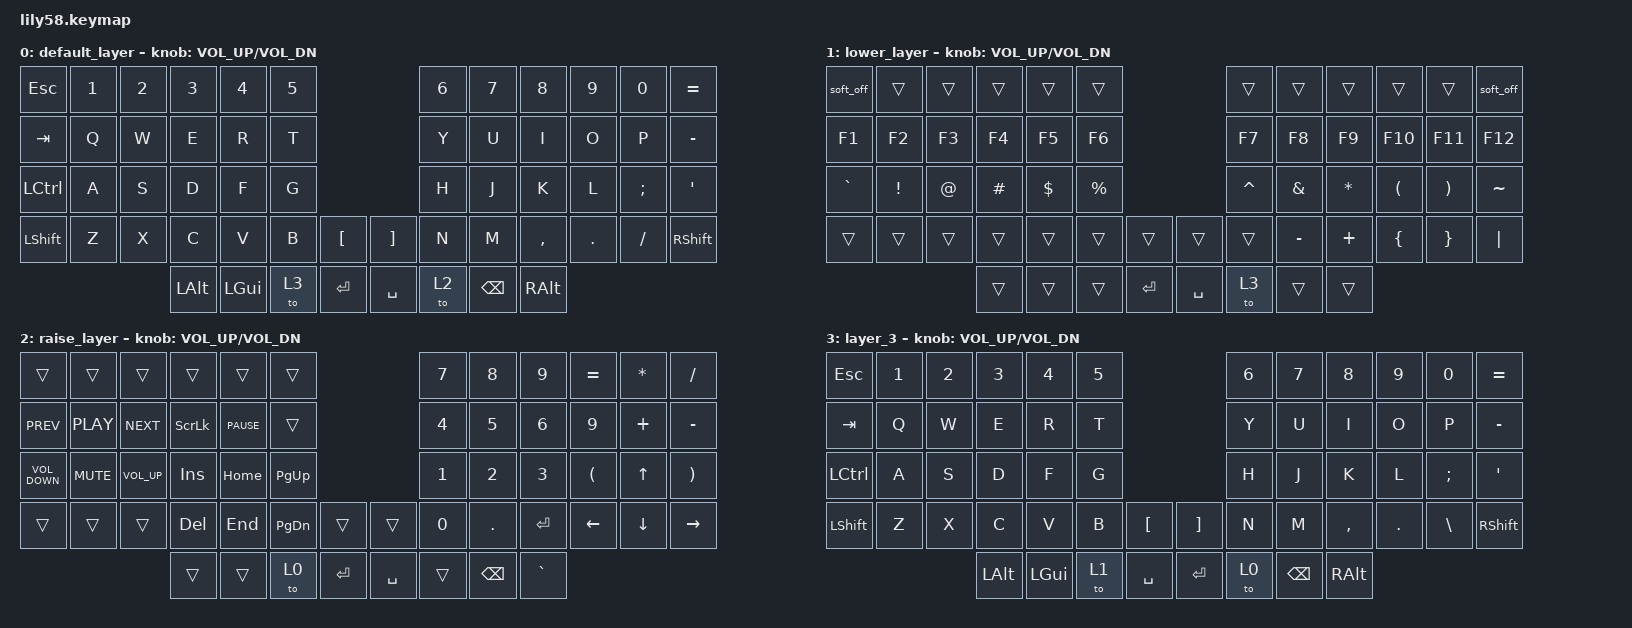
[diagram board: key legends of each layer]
/*
 * Copyright (c) 2020 The ZMK Contributors
 *
 * SPDX-License-Identifier: MIT
 */

#include <behaviors.dtsi>
#include <dt-bindings/zmk/keys.h>

/ {
    keymap {
        compatible = "zmk,keymap";

        default_layer {
            // ------------------------------------------------------------------------------------------------------------
            // |  ESC  |  1  |  2  |  3   |  4   |  5   |                   |  6   |  7    |  8    |  9   |   0   |   `   |
            // |  TAB  |  Q  |  W  |  E   |  R   |  T   |                   |  Y   |  U    |  I    |  O   |   P   |   -   |
            // |  CTRL |  A  |  S  |  D   |  F   |  G   |                   |  H   |  J    |  K    |  L   |   ;   |   '   |
            // | SHIFT |  Z  |  X  |  C   |  V   |  B   |   "["  |  |  "]"  |  N   |  M    |  ,    |  .   |   /   | SHIFT |
            //                     | ALT  | GUI  | LOWER|  SPACE |  | ENTER | RAISE| BSPC  | GUI   |

            bindings = <
&kp ESC    &kp N1  &kp N2  &kp N3    &kp N4    &kp N5                         &kp N6  &kp N7    &kp N8         &kp N9   &kp N0    &kp EQUAL
&kp TAB    &kp Q   &kp W   &kp E     &kp R     &kp T                          &kp Y   &kp U     &kp I          &kp O    &kp P     &kp MINUS
&kp LCTRL  &kp A   &kp S   &kp D     &kp F     &kp G                          &kp H   &kp J     &kp K          &kp L    &kp SEMI  &kp SQT
&kp LSHFT  &kp Z   &kp X   &kp C     &kp V     &kp B   &kp LBKT    &kp RBKT   &kp N   &kp M     &kp COMMA      &kp DOT  &kp FSLH  &kp RSHFT
                           &kp LALT  &kp LGUI  &to 3   &kp RET     &kp SPACE  &to 2   &kp BSPC  &kp RIGHT_ALT
            >;

            sensor-bindings = <&inc_dec_kp C_VOL_UP C_VOL_DN>;
        };

        lower_layer {
            // ------------------------------------------------------------------------------------------------------------
            // | BTCLR | BT1 | BT2 |  BT3 |  BT4 |  BT5 |                   |      |       |       |      |       |       |
            // |  F1   |  F2 |  F3 |  F4  |  F5  |  F6  |                   |  F7  |  F8   |  F9   |  F10 |  F11  |  F12  |
            // |   `   |  !  |  @  |  #   |  $   |  %   |                   |  ^   |  &    |  *    |  (   |   )   |   ~   |
            // |       |     |     |      |      |      |        |  |       |      |  _    |  +    |  {   |   }   |  "|"  |
            //                     |      |      |      |        |  |       |      |       |       |

            bindings = <
&soft_off  &trans    &trans  &trans    &trans      &trans                             &trans     &trans     &trans     &trans    &trans    &soft_off
&kp F1     &kp F2    &kp F3  &kp F4    &kp F5      &kp F6                             &kp F7     &kp F8     &kp F9     &kp F10   &kp F11   &kp F12
&kp GRAVE  &kp EXCL  &kp AT  &kp HASH  &kp DOLLAR  &kp PRCNT                          &kp CARET  &kp AMPS   &kp ASTRK  &kp LPAR  &kp RPAR  &kp TILDE
&trans     &trans    &trans  &trans    &trans      &trans     &trans       &trans     &trans     &kp MINUS  &kp PLUS   &kp LBRC  &kp RBRC  &kp PIPE
                             &trans    &trans      &trans     &kp ENTER    &kp SPACE  &to 3      &trans     &trans
            >;

            sensor-bindings = <&inc_dec_kp C_VOL_UP C_VOL_DN>;
        };

        raise_layer {
            // ------------------------------------------------------------------------------------------------------------
            // |       |     |     |      |      |      |                   |      |       |       |      |       |       |
            // |   `   |  1  |  2  |  3   |  4   |  5   |                   |  6   |   7   |   8   |  9   |   0   |       |
            // |   F1  |  F2 |  F3 |  F4  |  F5  |  F6  |                   |      |   <-  |   v   |  ^   |  ->   |       |
            // |   F7  |  F8 |  F9 |  F10 |  F11 |  F12 |        |  |       |  +   |   -   |   =   |  [   |   ]   |   \   |
            //                     |      |      |      |        |  |       |      |       |       |

            bindings = <
&trans             &trans      &trans           &trans          &trans       &trans                             &kp N7  &kp N8         &kp N9     &kp EQUAL             &kp ASTERISK  &kp SLASH
&kp C_PREV         &kp C_PLAY  &kp C_NEXT       &kp SCROLLLOCK  &kp C_PAUSE  &trans                             &kp N4  &kp N5         &kp N6     &kp N9                &kp PLUS      &kp MINUS
&kp C_VOLUME_DOWN  &kp K_MUTE  &kp C_VOLUME_UP  &kp INSERT      &kp HOME     &kp PG_UP                          &kp N1  &kp N2         &kp N3     &kp LEFT_PARENTHESIS  &kp UP        &kp RIGHT_PARENTHESIS
&trans             &trans      &trans           &kp DELETE      &kp END      &kp PG_DN  &trans       &trans     &kp N0  &kp PERIOD     &kp ENTER  &kp LEFT              &kp DOWN      &kp RIGHT
                                                &trans          &trans       &to 0      &kp ENTER    &kp SPACE  &trans  &kp BACKSPACE  &kp GRAVE
            >;

            sensor-bindings = <&inc_dec_kp C_VOL_UP C_VOL_DN>;
        };

        layer_3 {
            bindings = <
&kp ESC    &kp N1  &kp N2  &kp N3    &kp N4    &kp N5                          &kp N6  &kp N7    &kp N8         &kp N9   &kp N0         &kp EQUAL
&kp TAB    &kp Q   &kp W   &kp E     &kp R     &kp T                           &kp Y   &kp U     &kp I          &kp O    &kp P          &kp MINUS
&kp LCTRL  &kp A   &kp S   &kp D     &kp F     &kp G                           &kp H   &kp J     &kp K          &kp L    &kp SEMI       &kp SQT
&kp LSHFT  &kp Z   &kp X   &kp C     &kp V     &kp B   &kp LBKT     &kp RBKT   &kp N   &kp M     &kp COMMA      &kp DOT  &kp BACKSLASH  &kp RSHFT
                           &kp LALT  &kp LGUI  &to 1   &kp SPACE    &kp ENTER  &to 0   &kp BSPC  &kp RIGHT_ALT
            >;

            sensor-bindings = <&inc_dec_kp C_VOL_UP C_VOL_DN>;
        };
    };
};
